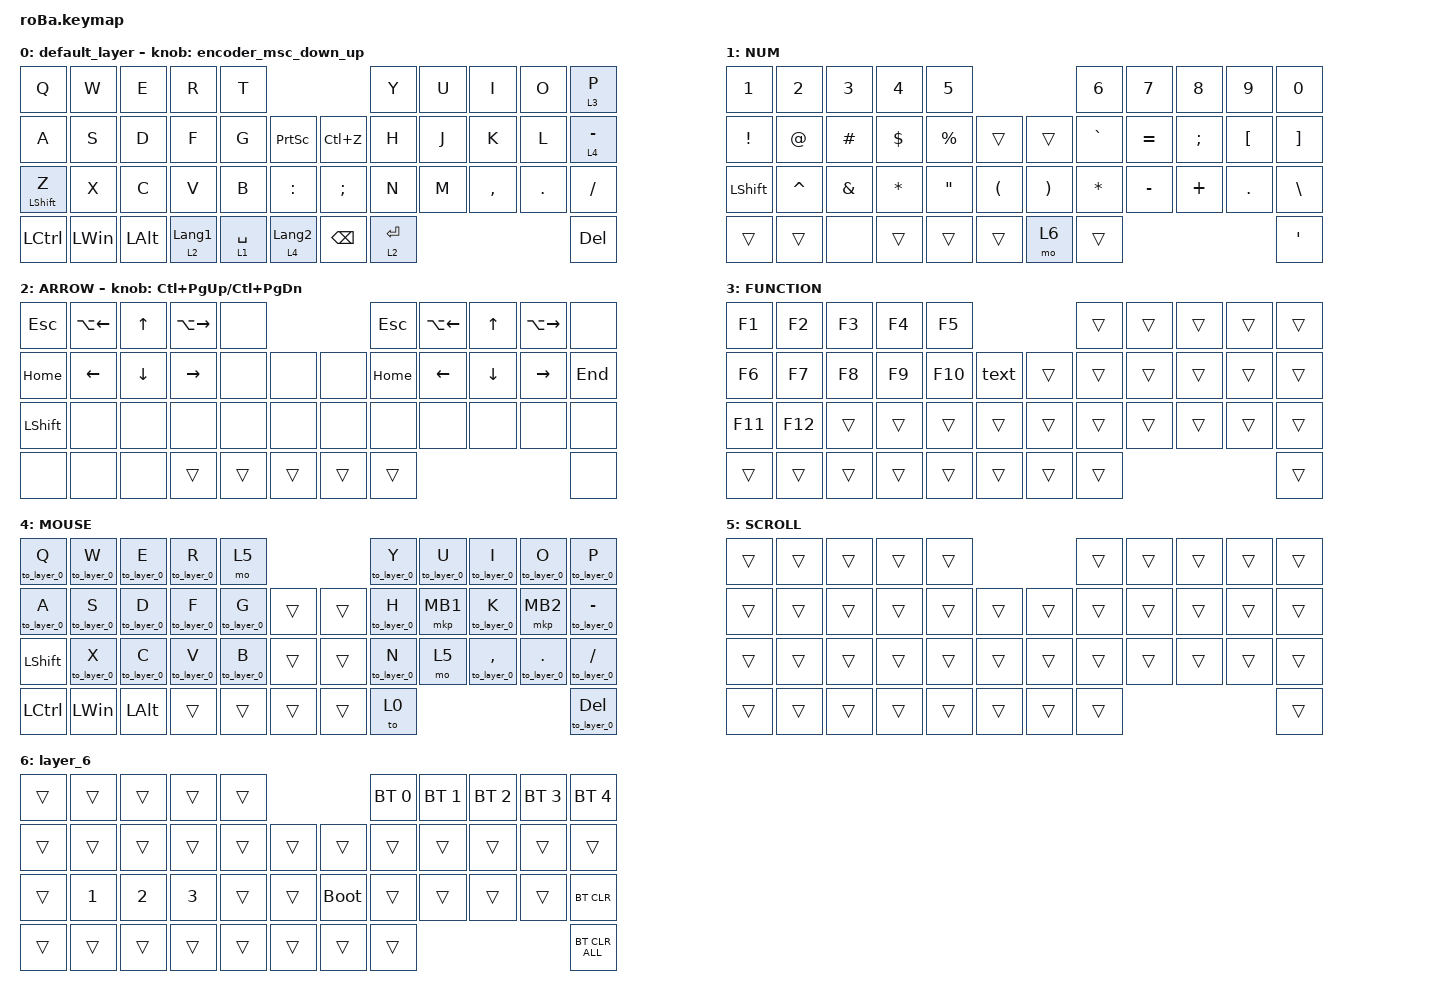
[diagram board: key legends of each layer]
#include <input/processors.dtsi>
#include <behaviors.dtsi>
#include <dt-bindings/zmk/bt.h>
#include <dt-bindings/zmk/keys.h>
#include <dt-bindings/zmk/pointing.h>

#define MOUSE 4
#define ZMK_POINTING_DEFAULT_SCRL_VAL 100

&mt {
    flavor = "balanced";
    quick-tap-ms = <0>;
};

&trackball {
    automouse-layer = <4>;
    scroll-layers = <5>;

    // arrows {
    //     layers = <3>;
    //     bindings =
    //         <&kp RIGHT_ARROW>,
    //         <&kp LEFT_ARROW>,
    //         <&kp UP_ARROW>,
    //         <&kp DOWN_ARROW>;
    //     tick = <10>;
    //     wait-ms = <5>;
    //     tap-ms = <5>;
    // };
};

&mkp_input_listener { input-processors = <&zip_temp_layer 4 250>; };

/ {
    combos {
        compatible = "zmk,combos";

        tab {
            bindings = <&kp TAB>;
            key-positions = <0 1>;
        };

        backspace {
            bindings = <&kp BACKSPACE>;
            key-positions = <8 9>;
        };

        enter {
            bindings = <&kp ENTER>;
            key-positions = <20 21>;
        };
    };

    macros {
        to_layer_0: to_layer_0 {
            compatible = "zmk,behavior-macro-one-param";
            #binding-cells = <1>;
            bindings = <&to 0 &macro_param_1to1 &kp MACRO_PLACEHOLDER>;
            label = "TO_LAYER_0";
        };

        exit_AML: exit_AML {
            compatible = "zmk,behavior-macro";
            wait-ms = <0>;
            tap-ms = <0>;
            #binding-cells = <0>;
            bindings = <&tog_off MOUSE>;
            label = "exit_AML";
        };

        kp_exit_AML: kp_exit_AML {
            compatible = "zmk,behavior-macro-one-param";
            wait-ms = <0>;
            tap-ms = <0>;
            #binding-cells = <1>;
            bindings = <&macro_param_1to1 &kp MACRO_PLACEHOLDER &exit_AML>;
            label = "KP_exit_AML";
        };

        text: text {
            compatible = "zmk,behavior-macro";
            #binding-cells = <0>;
            bindings = <&kp S &kp T &kp R &kp A &kp Y &kp AT &kp N1 &kp N2 &kp N9>;
            label = "TEXT";
        };
    };

    behaviors {
        lt_to_layer_0: lt_to_layer_0 {
            compatible = "zmk,behavior-hold-tap";
            label = "LAYER_TAP_TO_0";
            bindings = <&mo>, <&to_layer_0>;

            #binding-cells = <2>;
            tapping-term-ms = <200>;
        };

        tog_off: toggle_layer_off {
            compatible = "zmk,behavior-toggle-layer";
            #binding-cells = <1>;
            display-name = "Toggle Layer Off";
            toggle-mode = "off";
        };

        mt_exit_AML_on_tap: mt_exit_AML_on_tap {
            compatible = "zmk,behavior-hold-tap";
            label = "MT_exit_AML_ON_TAP";
            bindings = <&kp>, <&kp_exit_AML>;

            #binding-cells = <2>;
            tapping-term-ms = <200>;
            flavor = "balanced";
            quick-tap-ms = <200>;
        };

        encoder_msc_down_up: encoder_msc_down_up {
            compatible = "zmk,behavior-sensor-rotate";
            label = "ENCODER_MSC_DOWN_UP";
            #sensor-binding-cells = <0>;
            bindings = <&msc SCRL_DOWN>, <&msc SCRL_UP>;

            tap-ms = <20>;
        };
    };

    keymap {
        compatible = "zmk,keymap";

        default_layer {
            bindings = <
&kp Q             &kp W         &kp E         &kp R             &kp T                                             &kp Y        &kp U  &kp I      &kp O    &lt 3 P
&kp A             &kp S         &kp D         &kp F             &kp G        &kp PRINTSCREEN       &kp LC(Z)      &kp H        &kp J  &kp K      &kp L    &lt 4 MINUS
&mt LEFT_SHIFT Z  &kp X         &kp C         &kp V             &kp B        &kp COLON             &kp SEMICOLON  &kp N        &kp M  &kp COMMA  &kp DOT  &kp SLASH
&kp LCTRL         &kp LEFT_WIN  &kp LEFT_ALT  &lt 2 LANGUAGE_1  &lt 1 SPACE  &lt 4 LANGUAGE_2      &kp BACKSPACE  &lt 2 ENTER                             &kp DELETE
            >;

            sensor-bindings = <&encoder_msc_down_up>;
        };

        NUM {
            bindings = <
&kp NUMBER_1  &kp NUMBER_2  &kp NUMBER_3   &kp NUMBER_4  &kp N5                                                              &kp NUMBER_6  &kp N7     &kp N8         &kp N9            &kp N0
&kp EXCL      &kp AT        &kp HASH       &kp DOLLAR    &kp PERCENT        &trans                    &trans                 &kp GRAVE     &kp EQUAL  &kp SEMICOLON  &kp LEFT_BRACKET  &kp RIGHT_BRACKET
&kp LSHIFT    &kp CARET     &kp AMPERSAND  &kp ASTRK     &kp DOUBLE_QUOTES  &kp LEFT_PARENTHESIS      &kp RIGHT_PARENTHESIS  &kp ASTERISK  &kp MINUS  &kp PLUS       &kp PERIOD        &kp BACKSLASH
&trans        &trans        &none          &trans        &trans             &trans                    &mo 6                  &trans                                                    &kp SINGLE_QUOTE
            >;
        };

        ARROW {
            bindings = <
&kp ESCAPE      &kp LA(LEFT)    &kp UP_ARROW    &kp LA(RIGHT)  &none                       &kp ESC   &kp LA(LEFT_ARROW)  &kp UP_ARROW    &kp LA(RIGHT_ARROW)  &none
&kp HOME        &kp LEFT_ARROW  &kp DOWN_ARROW  &kp RIGHT      &none   &none       &none   &kp HOME  &kp LEFT_ARROW      &kp DOWN_ARROW  &kp RIGHT_ARROW      &kp END
&kp LEFT_SHIFT  &none           &none           &none          &none   &none       &none   &none     &none               &none           &none                &none
&none           &none           &none           &trans         &trans  &trans      &trans  &trans                                                             &none
            >;

            sensor-bindings = <&inc_dec_kp LC(PAGE_UP) LC(PAGE_DOWN)>;
        };

        FUNCTION {
            bindings = <
&kp F1   &kp F2   &kp F3  &kp F4  &kp F5                       &trans  &trans  &trans  &trans  &trans
&kp F6   &kp F7   &kp F8  &kp F9  &kp F10  &text       &trans  &trans  &trans  &trans  &trans  &trans
&kp F11  &kp F12  &trans  &trans  &trans   &trans      &trans  &trans  &trans  &trans  &trans  &trans
&trans   &trans   &trans  &trans  &trans   &trans      &trans  &trans                          &trans
            >;
        };

        MOUSE {
            bindings = <
&to_layer_0 Q  &to_layer_0 W  &to_layer_0 E  &to_layer_0 R  &mo 5                              &to_layer_0 Y  &to_layer_0 U  &to_layer_0 I      &to_layer_0 O       &to_layer_0 P
&to_layer_0 A  &to_layer_0 S  &to_layer_0 D  &to_layer_0 F  &to_layer_0 G  &trans      &trans  &to_layer_0 H  &mkp MB1       &to_layer_0 K      &mkp MB2            &to_layer_0 MINUS
&kp LSHFT      &to_layer_0 X  &to_layer_0 C  &to_layer_0 V  &to_layer_0 B  &trans      &trans  &to_layer_0 N  &mo 5          &to_layer_0 COMMA  &to_layer_0 PERIOD  &to_layer_0 SLASH
&kp LCTRL      &kp LEFT_WIN   &kp LEFT_ALT   &trans         &trans         &trans      &trans  &to 0                                                                &to_layer_0 DEL
            >;
        };

        SCROLL {
            bindings = <
&trans  &trans  &trans  &trans  &trans                      &trans  &trans  &trans  &trans  &trans
&trans  &trans  &trans  &trans  &trans  &trans      &trans  &trans  &trans  &trans  &trans  &trans
&trans  &trans  &trans  &trans  &trans  &trans      &trans  &trans  &trans  &trans  &trans  &trans
&trans  &trans  &trans  &trans  &trans  &trans      &trans  &trans                          &trans
            >;
        };

        layer_6 {
            bindings = <
&trans  &trans        &trans        &trans        &trans                           &bt BT_SEL 0  &bt BT_SEL 1  &bt BT_SEL 2  &bt BT_SEL 3  &bt BT_SEL 4
&trans  &trans        &trans        &trans        &trans  &trans      &trans       &trans        &trans        &trans        &trans        &trans
&trans  &kp NUMBER_1  &kp NUMBER_2  &kp NUMBER_3  &trans  &trans      &bootloader  &trans        &trans        &trans        &trans        &bt BT_CLR
&trans  &trans        &trans        &trans        &trans  &trans      &trans       &trans                                                  &bt BT_CLR_ALL
            >;
        };
    };
};
